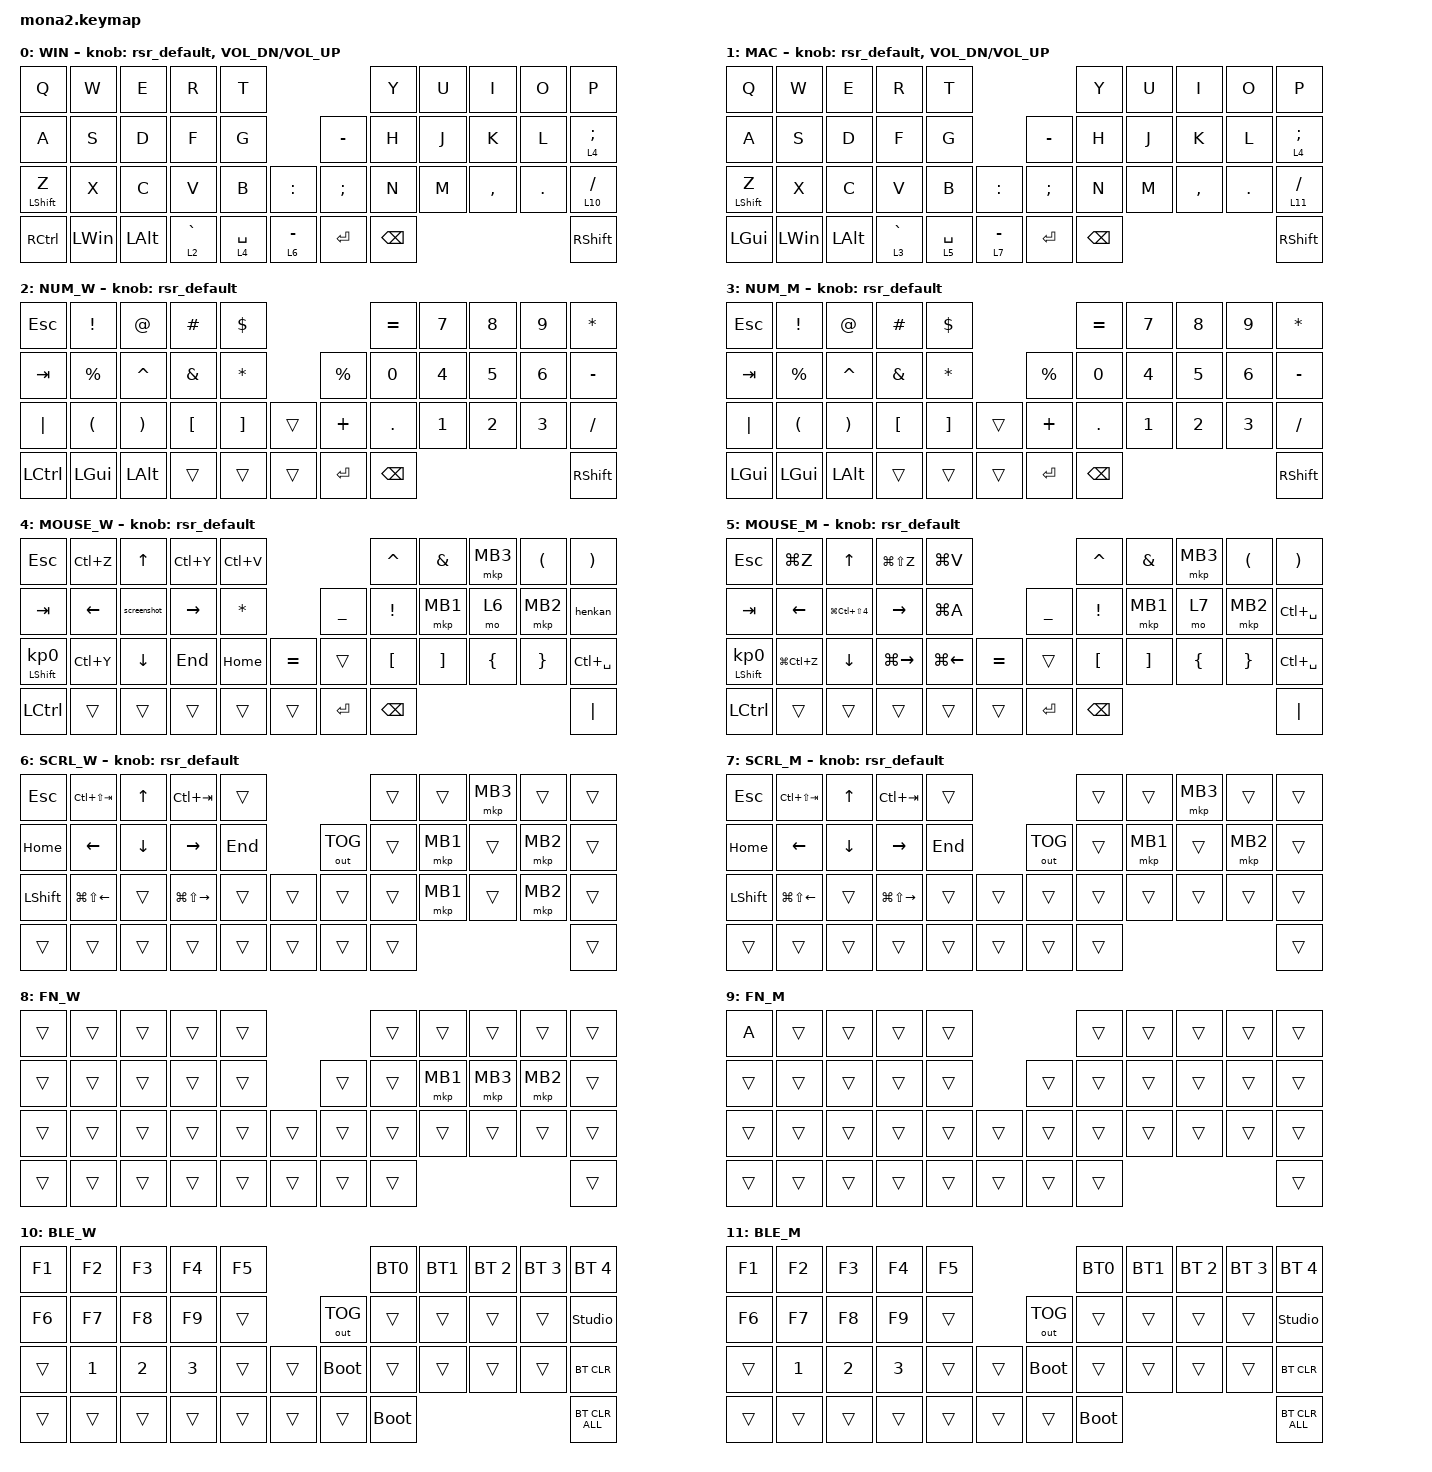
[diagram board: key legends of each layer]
#include <input/processors.dtsi>
#include <dt-bindings/zmk/input_transform.h>
#include <zephyr/dt-bindings/input/input-event-codes.h>
#include <behaviors/runtime-sensor-rotate.dtsi>
#include <behaviors.dtsi>
/* DYA Studio から作成したマクロを呼び出す `&rmacro <slot>` を定義する。
   slot は 0 〜 CONFIG_ZMK_RUNTIME_MACRO_COUNT-1 (現状 0〜7)。
   どのマクロがどのスロットに入っているかは DYA Studio のマクロ一覧で確認する。
   キーへの割り当ては DYA Studio のキーマップエディタからも行える。 */
#include <behaviors/runtime_macro.dtsi>
/* デフォルトレイヤー変更 behavior `&df`。
   DYA Studio の「OSごとのデフォルトレイヤー」から設定できるほか、
   キーマップエディタで `&df DF_SEL <layer>` / `&df DF_INC` を
   任意のキーに割り当てられる。 */
#include <behaviors/default_layer.dtsi>
#include <dt-bindings/zmk_behavior_default_layer/default_layer.h>
#include <dt-bindings/zmk/bt.h>
#include <dt-bindings/zmk/keys.h>
#include <dt-bindings/zmk/outputs.h>
#include <dt-bindings/zmk/pointing.h>

/* ZMK 側で 10 が定義済みなので警告回避のため一旦 undef */

#undef ZMK_POINTING_DEFAULT_SCRL_VAL

#define ZMK_POINTING_DEFAULT_SCRL_VAL 100

/* Scale encoder speed before encoding the scroll direction. */
#define ENCODER_SCROLL_SPEED (ZMK_POINTING_DEFAULT_SCRL_VAL / 4)


/ {
    behaviors {
        mg_set_0: behavior_mg_set_0 {
            compatible = "zmk,behavior-mg-set-fixed";
            #binding-cells = <0>;
            display-name = "Mouse Gesture Key 0";
        };

        mg_set_1: behavior_mg_set_1 {
            compatible = "zmk,behavior-mg-set-fixed";
            #binding-cells = <0>;
            display-name = "Mouse Gesture Key 1";
        };

        mg_set_2: behavior_mg_set_2 {
            compatible = "zmk,behavior-mg-set-fixed";
            #binding-cells = <0>;
            display-name = "Mouse Gesture Key 2";
        };
    };
};

&mt {
    flavor = "balanced";
    quick-tap-ms = <0>;
};

&lt {
    quick-tap-ms = <200>;
    flavor = "balanced";
};

&msc {
    delay-ms = <0>;
    time-to-max-speed-ms = <0>;
    acceleration-exponent = <0>;
};

/ {
    /* ─────────────────────────────────────────────────────────────
       コンボ (DYA Studio から編集可能)

       旧 `combos { compatible = "zmk,combos"; }` はコンパイル時固定で
       DYA Studio から編集できないため、zmk-feature-runtime-combo の
       「コンパイル時デフォルト」ノードへ移行した。
       ここに書いた内容はフラッシュ直後から有効で、設定を消しても復活する。
       DYA Studio 側で編集するとそのスロットだけ上書きされ、
       Web UI の "Reset to Default" でここの値へ戻せる。

       スロット総数は CONFIG_ZMK_RUNTIME_COMBO_MAX_COMBOS (現状 16)。
       未使用スロット (2〜15) は DYA Studio から自由に追加できる。
       ────────────────────────────────────────────────────────── */
    runtime_combo_defaults {
        compatible = "cormoran,runtime-combo-defaults";

        layer4_ESC {
            slot = <0>;
            display-name = "Layer4 ESC";
            key-positions = <38 39>;
            bindings = <&lt 4 ESC>;
        };

        tab {
            slot = <1>;
            display-name = "Tab";
            key-positions = <11 12>;
            bindings = <&kp TAB>;
        };
    };

    /* 静的マクロ。キーマップ上で &BT0 / &screenshot などの名前で直接
       参照しているため、そのまま残している (DYA Studio 上では編集不可)。
       DYA Studio から編集したいマクロは Web UI で新規作成し、
       キーに `&rmacro <slot>` を割り当てて使う。 */
    macros {
        to_layer_0: to_layer_0 {
            compatible = "zmk,behavior-macro-one-param";
            #binding-cells = <1>;
            bindings = <&to 0 &macro_param_1to1 &kp MACRO_PLACEHOLDER>;
            label = "TO_LAYER_0";
        };

        BT0: BT0 {
            compatible = "zmk,behavior-macro";
            #binding-cells = <0>;
            bindings =
                <&tog_off 0 &tog_off 1>,
                <&macro_wait_time 200>,
                <&bt BT_SEL 0>,
                <&macro_wait_time 500>,
                <&tog_on 0>;

            label = "BT0";
        };

        BT1: BT1 {
            compatible = "zmk,behavior-macro";
            #binding-cells = <0>;
            bindings =
                <&tog_off 0 &tog_off 1>,
                <&macro_wait_time 200>,
                <&bt BT_SEL 1>,
                <&macro_wait_time 500>,
                <&tog_on 1>;

            label = "BT1";
        };

        screenshot: screenshot {
            compatible = "zmk,behavior-macro";
            #binding-cells = <0>;
            bindings =
                <&macro_press>,
                <&kp LEFT_GUI &kp RSHIFT>,
                <&macro_wait_time 20>,
                <&macro_tap>,
                <&kp S>,
                <&macro_release>,
                <&kp LEFT_GUI &kp RSHIFT>;

            label = "SCREENSHOT";
        };

        henkan: henkan {
            compatible = "zmk,behavior-macro";
            #binding-cells = <0>;
            bindings =
                <&macro_press>,
                <&kp LEFT_ALT>,
                <&macro_wait_time 20>,
                <&macro_tap>,
                <&kp GRAVE>,
                <&macro_release>,
                <&kp LEFT_ALT>;

            label = "HENKAN";
        };
    };

    behaviors {
        lt_to_layer_0: lt_to_layer_0 {
            compatible = "zmk,behavior-hold-tap";
            label = "LAYER_TAP_TO_0";
            bindings = <&mo>, <&to_layer_0>;

            #binding-cells = <2>;
            tapping-term-ms = <200>;
        };

        tp_repeat_mo1: tp_repeat_mo1 {
            compatible = "zmk,behavior-hold-tap";
            label = "TP_REPEAT_MO1";
            bindings = <&mo>, <&key_repeat>;

            #binding-cells = <2>;
            tapping-term-ms = <200>;
        };

        // エンコーダ用 runtime-configurable sensor rotate
        // デフォルトは通常スクロール速度の1/4 (cw=down, ccw=up)
        // DYA Studio Web UI から レイヤーごとに cw/ccw の binding を
        // kp C_VOL_UP/DN や kp LEFT/RIGHT などへ動的変更可能

        rsr_default: rsr_default {
            compatible = "zmk,behavior-runtime-sensor-rotate";
            #sensor-binding-cells = <0>;
            tap-ms = <16>;
            cw-binding = <&msc MOVE_Y(-ENCODER_SCROLL_SPEED)>;
            ccw-binding = <&msc MOVE_Y(ENCODER_SCROLL_SPEED)>;
        };

        tog_on: toggle_layer_on_only {
            compatible = "zmk,behavior-toggle-layer";
            #binding-cells = <1>;
            display-name = "Toggle Layer On";
            toggle-mode = "on";
        };

        tog_off: toggle_layer_off_only {
            compatible = "zmk,behavior-toggle-layer";
            #binding-cells = <1>;
            display-name = "Toggle Layer Off";
            toggle-mode = "off";
        };

        zfold: zfold {
            compatible = "zmk,behavior-hold-tap";
            label = "ZFOLD";
            bindings = <&kp>, <&kp>;

            #binding-cells = <2>;
            tapping-term-ms = <300>;
            flavor = "hold-preferred";
            quick-tap-ms = <150>;
            hold-while-undecided;
        };

        zfoldZ: zfoldZ {
            compatible = "zmk,behavior-tap-dance";
            label = "ZFOLDZ";
            #binding-cells = <0>;
            bindings = <&zfold LEFT_SHIFT Z>, <&kp LS(Z)>;
        };
    };

    keymap {
        compatible = "zmk,keymap";

        win_layer {
            display-name = "WIN";
            bindings = <
&kp Q             &kp W         &kp E         &kp R        &kp T                                      &kp Y          &kp U  &kp I      &kp O    &kp P
&kp A             &kp S         &kp D         &kp F        &kp G                       &kp MINUS      &kp H          &kp J  &kp K      &kp L    &lt 4 SEMICOLON
&mt LEFT_SHIFT Z  &kp X         &kp C         &kp V        &kp B        &kp COLON      &kp SEMICOLON  &kp N          &kp M  &kp COMMA  &kp DOT  &lt 10 SLASH
&kp RCTRL         &kp LEFT_WIN  &kp LEFT_ALT  &lt 2 GRAVE  &lt 4 SPACE  &lt 6 MINUS    &kp ENTER      &kp BACKSPACE                             &kp RIGHT_SHIFT
            >;

            sensor-bindings = <&rsr_default>, <&inc_dec_kp C_VOL_DN C_VOL_UP>;
        };

        mac_layer {
            display-name = "MAC";
            bindings = <
&kp Q             &kp W         &kp E         &kp R        &kp T                                      &kp Y          &kp U  &kp I      &kp O    &kp P
&kp A             &kp S         &kp D         &kp F        &kp G                       &kp MINUS      &kp H          &kp J  &kp K      &kp L    &lt 4 SEMICOLON
&mt LEFT_SHIFT Z  &kp X         &kp C         &kp V        &kp B        &kp COLON      &kp SEMICOLON  &kp N          &kp M  &kp COMMA  &kp DOT  &lt 11 SLASH
&kp LEFT_GUI      &kp LEFT_WIN  &kp LEFT_ALT  &lt 3 GRAVE  &lt 5 SPACE  &lt 7 MINUS    &kp ENTER      &kp BACKSPACE                             &kp RIGHT_SHIFT
            >;

            sensor-bindings = <&rsr_default>, <&inc_dec_kp C_VOL_DN C_VOL_UP>;
        };

        num_win {
            display-name = "NUM_W";
            bindings = <
&kp ESCAPE  &kp EXCLAMATION       &kp AT_SIGN            &kp HASH          &kp DOLLAR                                &kp EQUAL      &kp NUMBER_7  &kp NUMBER_8  &kp NUMBER_9  &kp ASTERISK
&kp TAB     &kp PERCENT           &kp CARET              &kp AMPERSAND     &kp ASTERISK                 &kp PERCENT  &kp NUMBER_0   &kp NUMBER_4  &kp NUMBER_5  &kp NUMBER_6  &kp MINUS
&kp PIPE    &kp LEFT_PARENTHESIS  &kp RIGHT_PARENTHESIS  &kp LEFT_BRACKET  &kp RIGHT_BRACKET  &trans    &kp PLUS     &kp DOT        &kp NUMBER_1  &kp NUMBER_2  &kp NUMBER_3  &kp SLASH
&kp LCTRL   &kp LEFT_GUI          &kp LEFT_ALT           &trans            &trans             &trans    &kp ENTER    &kp BACKSPACE                                            &kp RIGHT_SHIFT
            >;

            sensor-bindings = <&rsr_default>;
        };

        num_mac {
            display-name = "NUM_M";
            bindings = <
&kp ESCAPE    &kp EXCLAMATION       &kp AT_SIGN            &kp HASH          &kp DOLLAR                                &kp EQUAL      &kp NUMBER_7  &kp NUMBER_8  &kp NUMBER_9  &kp ASTERISK
&kp TAB       &kp PERCENT           &kp CARET              &kp AMPERSAND     &kp ASTERISK                 &kp PERCENT  &kp NUMBER_0   &kp NUMBER_4  &kp NUMBER_5  &kp NUMBER_6  &kp MINUS
&kp PIPE      &kp LEFT_PARENTHESIS  &kp RIGHT_PARENTHESIS  &kp LEFT_BRACKET  &kp RIGHT_BRACKET  &trans    &kp PLUS     &kp DOT        &kp NUMBER_1  &kp NUMBER_2  &kp NUMBER_3  &kp SLASH
&kp LEFT_GUI  &kp LEFT_GUI          &kp LEFT_ALT           &trans            &trans             &trans    &kp ENTER    &kp BACKSPACE                                            &kp RIGHT_SHIFT
            >;

            sensor-bindings = <&rsr_default>;
        };

        mouse_win {
            display-name = "MOUSE_W";
            bindings = <
&kp ESCAPE                  &kp LC(Z)       &kp UP_ARROW    &kp LC(Y)        &kp LC(V)                                  &kp CARET         &kp AMPERSAND      &mkp MB3        &kp LEFT_PARENTHESIS  &kp RIGHT_PARENTHESIS
&kp TAB                     &kp LEFT_ARROW  &screenshot     &kp RIGHT_ARROW  &kp ASTERISK               &kp UNDERSCORE  &kp EXCLAMATION   &mkp MB1           &mo 6           &mkp MB2              &henkan
&mt LEFT_SHIFT KP_NUMBER_0  &kp LC(Y)       &kp DOWN_ARROW  &kp END          &kp HOME      &kp EQUAL    &trans          &kp LEFT_BRACKET  &kp RIGHT_BRACKET  &kp LEFT_BRACE  &kp RIGHT_BRACE       &kp LC(SPACE)
&kp LCTRL                   &trans          &trans          &trans           &trans        &trans       &kp ENTER       &kp BACKSPACE                                                              &kp PIPE
            >;

            sensor-bindings = <&rsr_default>;
        };

        mouse_mac {
            display-name = "MOUSE_M";
            bindings = <
&kp ESCAPE                  &kp LG(Z)       &kp UP_ARROW              &kp LG(LS(Z))    &kp LG(V)                                  &kp CARET         &kp AMPERSAND      &mkp MB3        &kp LEFT_PARENTHESIS  &kp RIGHT_PARENTHESIS
&kp TAB                     &kp LEFT_ARROW  &kp LG(LC(LS(NUMBER_4)))  &kp RIGHT_ARROW  &kp LG(A)                  &kp UNDERSCORE  &kp EXCLAMATION   &mkp MB1           &mo 7           &mkp MB2              &kp LC(SPACE)
&mt LEFT_SHIFT KP_NUMBER_0  &kp LG(LC(Z))   &kp DOWN_ARROW            &kp LG(RIGHT)    &kp LG(LEFT)  &kp EQUAL    &trans          &kp LEFT_BRACKET  &kp RIGHT_BRACKET  &kp LEFT_BRACE  &kp RIGHT_BRACE       &kp LC(SPACE)
&kp LCTRL                   &trans          &trans                    &trans           &trans        &trans       &kp ENTER       &kp BACKSPACE                                                              &kp PIPE
            >;

            sensor-bindings = <&rsr_default>;
        };

        scroll_win {
            display-name = "SCRL_W";
            bindings = <
&kp ESCAPE      &kp LC(LS(TAB))         &kp UP_ARROW    &kp LC(TAB)              &trans                           &trans  &trans    &mkp MB3  &trans    &trans
&kp HOME        &kp LEFT_ARROW          &kp DOWN_ARROW  &kp RIGHT_ARROW          &kp END            &out OUT_TOG  &trans  &mkp MB1  &trans    &mkp MB2  &trans
&kp LEFT_SHIFT  &kp LG(LS(LEFT_ARROW))  &trans          &kp LG(LS(RIGHT_ARROW))  &trans   &trans    &trans        &trans  &mkp MB1  &trans    &mkp MB2  &trans
&trans          &trans                  &trans          &trans                   &trans   &trans    &trans        &trans                                &trans
            >;

            sensor-bindings = <&rsr_default>;
        };

        scroll_mac {
            display-name = "SCRL_M";
            bindings = <
&kp ESCAPE      &kp LC(LS(TAB))         &kp UP_ARROW    &kp LC(TAB)              &trans                           &trans  &trans    &mkp MB3  &trans    &trans
&kp HOME        &kp LEFT_ARROW          &kp DOWN_ARROW  &kp RIGHT_ARROW          &kp END            &out OUT_TOG  &trans  &mkp MB1  &trans    &mkp MB2  &trans
&kp LEFT_SHIFT  &kp LG(LS(LEFT_ARROW))  &trans          &kp LG(LS(RIGHT_ARROW))  &trans   &trans    &trans        &trans  &trans    &trans    &trans    &trans
&trans          &trans                  &trans          &trans                   &trans   &trans    &trans        &trans                                &trans
            >;

            sensor-bindings = <&rsr_default>;
        };

        function_win {
            display-name = "FN_W";
            bindings = <
&trans  &trans  &trans  &trans  &trans                    &trans  &trans    &trans    &trans    &trans
&trans  &trans  &trans  &trans  &trans            &trans  &trans  &mkp MB1  &mkp MB3  &mkp MB2  &trans
&trans  &trans  &trans  &trans  &trans  &trans    &trans  &trans  &trans    &trans    &trans    &trans
&trans  &trans  &trans  &trans  &trans  &trans    &trans  &trans                                &trans
            >;
        };

        function_mac {
            display-name = "FN_M";
            bindings = <
&kp A   &trans  &trans  &trans  &trans                    &trans  &trans  &trans  &trans  &trans
&trans  &trans  &trans  &trans  &trans            &trans  &trans  &trans  &trans  &trans  &trans
&trans  &trans  &trans  &trans  &trans  &trans    &trans  &trans  &trans  &trans  &trans  &trans
&trans  &trans  &trans  &trans  &trans  &trans    &trans  &trans                          &trans
            >;
        };

        ble_win {
            display-name = "BLE_W";
            bindings = <
&kp F1  &kp F2        &kp F3        &kp F4        &kp F5                          &BT0         &BT1    &bt BT_SEL 2  &bt BT_SEL 3  &bt BT_SEL 4
&kp F6  &kp F7        &kp F8        &kp F9        &trans            &out OUT_TOG  &trans       &trans  &trans        &trans        &studio_unlock
&trans  &kp NUMBER_1  &kp NUMBER_2  &kp NUMBER_3  &trans  &trans    &bootloader   &trans       &trans  &trans        &trans        &bt BT_CLR
&trans  &trans        &trans        &trans        &trans  &trans    &trans        &bootloader                                      &bt BT_CLR_ALL
            >;
        };

        ble_mac {
            display-name = "BLE_M";
            bindings = <
&kp F1  &kp F2        &kp F3        &kp F4        &kp F5                          &BT0         &BT1    &bt BT_SEL 2  &bt BT_SEL 3  &bt BT_SEL 4
&kp F6  &kp F7        &kp F8        &kp F9        &trans            &out OUT_TOG  &trans       &trans  &trans        &trans        &studio_unlock
&trans  &kp NUMBER_1  &kp NUMBER_2  &kp NUMBER_3  &trans  &trans    &bootloader   &trans       &trans  &trans        &trans        &bt BT_CLR
&trans  &trans        &trans        &trans        &trans  &trans    &trans        &bootloader                                      &bt BT_CLR_ALL
            >;
        };
    };
};
